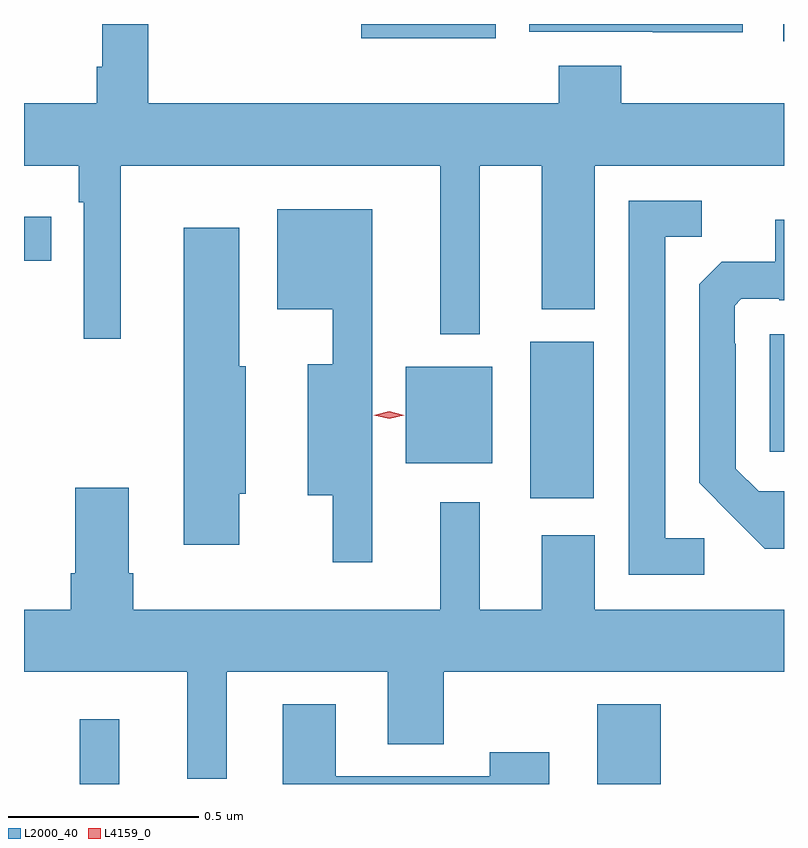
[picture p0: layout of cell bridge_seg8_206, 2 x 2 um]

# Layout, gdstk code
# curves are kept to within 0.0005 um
import gdstk
lib = gdstk.Library(unit=1e-6, precision=1e-09)
def R(c, l, rs):  # rectangles x0, y0, x1, y1
    for r in rs: c.add(gdstk.rectangle(r[:2], r[2:], *l))
def P(c, l, *ps):  # polygons
    for p in ps: c.add(gdstk.Polygon(p, *l))
L2000_40 = (2000, 40)
L4159_0 = (4159, 0)

bridge_seg8_206 = lib.new_cell('bridge_seg8_206')
R(bridge_seg8_206, L2000_40, [(170.837,1112.209,170.941,1112.38), (172.199,1112.209,172.366,1112.419), (172.022,1112.961,172.189,1113.373), (171.695,1113.053,171.922,1113.307), (172.653,1113.084,172.69,1113.393), (170.69,1113.586,170.762,1113.702), (172.688,1114.164,172.69,1114.209), (171.578,1114.172,171.931,1114.209)])
P(bridge_seg8_206, L2000_40, [(172.582,1114.209),(172.02,1114.209),(172.02,1114.188),(172.345,1114.188),(172.345,1114.187),(172.582,1114.187)],
  [(170.944,1113.836),(171.785,1113.836),(171.785,1113.392),(171.889,1113.392),(171.889,1113.836),(172.052,1113.836),(172.052,1113.458),(172.192,1113.458),(172.192,1113.836),(172.69,1113.836),(172.69,1114),(172.262,1114),(172.262,1114.099),(172.097,1114.099),(172.097,1114),(171.017,1114),(171.017,1114.209),(170.896,1114.209),(170.896,1114.096),(170.881,1114.096),(170.881,1114),(170.69,1114),(170.69,1113.836),(170.834,1113.836),(170.834,1113.74),(170.847,1113.74),(170.847,1113.381),(170.944,1113.381)],
  [(172.48,1112.856),(172.377,1112.856),(172.377,1113.649),(172.473,1113.649),(172.473,1113.744),(172.281,1113.744),(172.281,1112.76),(172.48,1112.76)],
  [(171.607,1113.721),(171.356,1113.721),(171.356,1113.458),(171.503,1113.458),(171.503,1113.313),(171.437,1113.313),(171.437,1112.969),(171.503,1112.969),(171.503,1112.793),(171.607,1112.793)],
  [(172.69,1112.979),(172.623,1112.979),(172.563,1113.039),(172.563,1113.368),(172.56,1113.368),(172.56,1113.468),(172.578,1113.486),(172.678,1113.486),(172.678,1113.482),(172.69,1113.482),(172.69,1113.694),(172.667,1113.694),(172.667,1113.583),(172.526,1113.583),(172.467,1113.524),(172.467,1113.002),(172.639,1112.828),(172.69,1112.828)],
  [(171.256,1112.973),(171.274,1112.973),(171.274,1113.309),(171.256,1113.309),(171.256,1113.673),(171.11,1113.673),(171.11,1112.838),(171.256,1112.838)],
  [(171.223,1112.504),(171.647,1112.504),(171.647,1112.314),(171.795,1112.314),(171.795,1112.504),(172.69,1112.504),(172.69,1112.668),(172.192,1112.668),(172.192,1112.863),(172.052,1112.863),(172.052,1112.668),(171.889,1112.668),(171.889,1112.95),(171.785,1112.95),(171.785,1112.668),(170.978,1112.668),(170.978,1112.764),(170.965,1112.764),(170.965,1112.989),(170.825,1112.989),(170.825,1112.764),(170.813,1112.764),(170.813,1112.668),(170.69,1112.668),(170.69,1112.504),(171.119,1112.504),(171.119,1112.223),(171.223,1112.223)],
  [(172.072,1112.293),(171.916,1112.293),(171.916,1112.229),(171.511,1112.229),(171.511,1112.419),(171.371,1112.419),(171.371,1112.209),(172.072,1112.209)])
P(bridge_seg8_206, L4159_0, [(171.651,1113.17),(171.611,1113.18),(171.611,1113.18),(171.611,1113.18),(171.651,1113.19),(171.691,1113.18),(171.691,1113.18),(171.691,1113.18)])

lib.write_gds('bridge_seg8_206.gds')
